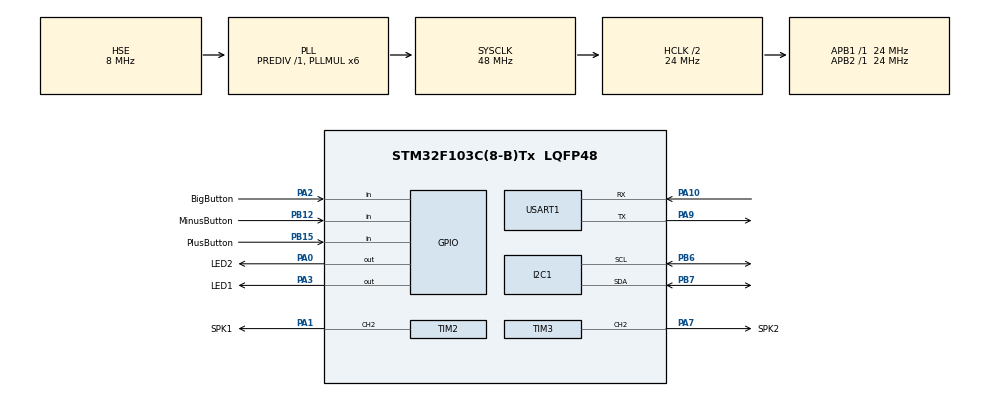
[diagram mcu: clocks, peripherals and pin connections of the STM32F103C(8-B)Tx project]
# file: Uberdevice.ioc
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Mcu.Family=STM32F1
Mcu.Name=STM32F103C(8-B)Tx
Mcu.Package=LQFP48
NVIC.PriorityGroup=NVIC_PRIORITYGROUP_4
NVIC.TIM4_IRQn=true\:0\:0\:false\:false\:true\:false\:true
NVIC.TimeBase=TIM4_IRQn
NVIC.TimeBaseIP=TIM4
PA0-WKUP.GPIO_Label=LED2
PA0-WKUP.Signal=GPIO_Output
PA1.GPIO_Label=SPK1
PA1.Signal=S_TIM2_CH2
PA10.Mode=Asynchronous
PA10.Signal=USART1_RX
PA13.Mode=Serial_Wire
PA13.Signal=SYS_JTMS-SWDIO
PA14.Mode=Serial_Wire
PA14.Signal=SYS_JTCK-SWCLK
PA2.GPIO_Label=BigButton
PA2.GPIO_PuPd=GPIO_PULLDOWN
PA2.Signal=GPIO_Input
PA3.GPIO_Label=LED1
PA3.Signal=GPIO_Output
PA7.GPIO_Label=SPK2
PA7.Signal=S_TIM3_CH2
PA9.Mode=Asynchronous
PA9.Signal=USART1_TX
PB12.GPIO_Label=MinusButton
PB12.GPIO_PuPd=GPIO_PULLDOWN
PB12.Signal=GPIO_Input
PB15.GPIO_Label=PlusButton
PB15.GPIO_PuPd=GPIO_PULLDOWN
PB15.Signal=GPIO_Input
PB6.Mode=I2C
PB6.Signal=I2C1_SCL
PB7.Mode=I2C
PB7.Signal=I2C1_SDA
PD0-OSC_IN.Mode=HSE-External-Oscillator
PD0-OSC_IN.Signal=RCC_OSC_IN
PD1-OSC_OUT.Mode=HSE-External-Oscillator
PD1-OSC_OUT.Signal=RCC_OSC_OUT
ProjectManager.HeapSize=0x200
ProjectManager.StackSize=0x400
ProjectManager.TargetToolchain=Makefile
RCC.AHBCLKDivider=RCC_SYSCLK_DIV2
RCC.AHBFreq_Value=24000000
RCC.APB1Freq_Value=24000000
RCC.APB1TimFreq_Value=24000000
RCC.APB2Freq_Value=24000000
RCC.APB2TimFreq_Value=24000000
RCC.HCLKFreq_Value=24000000
RCC.PLLMUL=RCC_PLL_MUL6
RCC.PLLSourceVirtual=RCC_PLLSOURCE_HSE
RCC.SYSCLKFreq_VALUE=48000000
RCC.SYSCLKSource=RCC_SYSCLKSOURCE_PLLCLK
RCC.USBFreq_Value=48000000
SH.S_TIM2_CH2.0=TIM2_CH2,PWM Generation2 CH2
SH.S_TIM3_CH2.0=TIM3_CH2,PWM Generation2 CH2
TIM2.Channel-PWM\ Generation2\ CH2=TIM_CHANNEL_2
TIM3.Channel-PWM\ Generation2\ CH2=TIM_CHANNEL_2
USART1.VirtualMode=VM_ASYNC
VP_SYS_VS_tim4.Mode=TIM4
board=custom

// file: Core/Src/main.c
/* USER CODE BEGIN Header */
/*
  ******************************************************************************
  * @file           : main.c
  * @brief          : Main program body
  ******************************************************************************
  * @attention
  *
  * <h2><center>&copy; Copyright (c) 2019 STMicroelectronics.
  * All rights reserved.</center></h2>
  *
  * This software component is licensed by ST under Ultimate Liberty license
  * SLA0044, the "License"; You may not use this file except in compliance with
  * the License. You may obtain a copy of the License at:
  *                             www.st.com/SLA0044
  *
  ******************************************************************************
  */
/* USER CODE END Header */

#include "main.h"

/* USER CODE BEGIN Includes */

#include <stdlib.h>
#include <string.h>
#include "stm32f1xx_hal_gpio.h"
#include "lcd.h"
#include "game.h"
#include "task.h"
#include "queue.h"
#include "music.h"
#include "semphr.h"

/* USER CODE END Includes */

/* USER CODE BEGIN PTD */

typedef struct {
  bool pressed;
  GPIO_TypeDef *port;
  uint16_t pin;
} Button;

/* USER CODE END PTD */

/* USER CODE BEGIN PD */
#define LCD_ADDR (0x27 << 1)
#define LCD_COLS 20
#define LCD_ROWS 4

#define BUTTON_COUNT 3

/* USER CODE END PD */

I2C_HandleTypeDef hi2c1;

TIM_HandleTypeDef htim2;
TIM_HandleTypeDef htim3;

UART_HandleTypeDef huart1;

/* USER CODE BEGIN PV */

GameEngine game;
LCD_HandleTypeDef hlcd = {
    &hi2c1,
    LCD_ADDR,
    LCD_ROWS,
    LCD_COLS
};
char lcdBuffer[LCD_COLS+1];
Button buttons[BUTTON_COUNT] = { {
  .pressed = false,
  .port = BigButton_GPIO_Port,
  .pin = BigButton_Pin
}, {
  .pressed = false,
  .port = PlusButton_GPIO_Port,
  .pin = PlusButton_Pin
}, {
  .pressed = false,
  .port = MinusButton_GPIO_Port,
  .pin = MinusButton_Pin
} };
Button *plusButton = &buttons[1];
Button *minusButton = &buttons[2];
Button *bigButton = &buttons[0];

TimerHandle_t xSecondsTimerHandle = NULL;
TaskHandle_t xMusicHandle = NULL;
TaskHandle_t xLCDUpdaterHandle = NULL;
xSemaphoreHandle xButtonPressed;
xSemaphoreHandle xLCD;

asm(
"tetris:\n\t"
".incbin \"../../Resources/tetris.bin\"\n\t" // используем директиву .incbin
"tetris_len:\n\t"
".long .-tetris\n\t"  // вставляем значение .long с вычисленной длиной файла
);
extern uint8_t *tetris;
extern uint32_t tetris_len;
asm(
"super_mario:\n\t"
".incbin \"../../Resources/super_mario.bin\"\n\t" // используем директиву .incbin
"super_mario_len:\n\t"
".long .-super_mario\n\t"  // вставляем значение .long с вычисленной длиной файла
);
extern uint8_t *super_mario;
extern uint32_t super_mario_len;

/* USER CODE END PV */

void SystemClock_Config(void);
static void MX_GPIO_Init(void);
static void MX_I2C1_Init(void);
static void MX_TIM2_Init(void);
static void MX_TIM3_Init(void);
static void MX_USART1_UART_Init(void);
/* USER CODE BEGIN PFP */

void PrintTime() {
  if( xSemaphoreTake( xLCD, portMAX_DELAY ) == pdTRUE )
  {
    sprintf(
      lcdBuffer,
      (game.timerValue > 0 ? "       %2d:%02d        " : "      -%2d:%02d        "),
      abs(game.timerValue / 60),
      abs(game.timerValue % 60)
    );
    LCD_MoveCursor(&hlcd, 0, 0);
    LCD_SendString(&hlcd, lcdBuffer);
    xSemaphoreGive( xLCD );
  }
}
/* USER CODE END PFP */

int main(void)
{

  /* MCU Configuration--------------------------------------------------------*/

  /* Reset of all peripherals, Initializes the Flash interface and the Systick. */
  HAL_Init();

  /* Configure the system clock */
  SystemClock_Config();

  /* Initialize all configured peripherals */
  MX_GPIO_Init();
  MX_I2C1_Init();
  MX_TIM2_Init();
  MX_TIM3_Init();
  MX_USART1_UART_Init();
  /* USER CODE BEGIN 2 */
  InitGameEngine();

  xLCD = xSemaphoreCreateMutex();
  xButtonPressed = xSemaphoreCreateBinary();

	xTaskCreate(vTaskPlayerSetup, "Player", configMINIMAL_STACK_SIZE, NULL, 1, NULL);
	xTaskCreate(vTaskButtonPoll, "Buttons", configMINIMAL_STACK_SIZE, NULL, 1, NULL);
	vTaskStartScheduler();
  /* USER CODE END 2 */

  /* Infinite loop */
  while (1)
  {

  }
}

void SystemClock_Config(void)
{
  RCC_OscInitTypeDef RCC_OscInitStruct = {0};
  RCC_ClkInitTypeDef RCC_ClkInitStruct = {0};

  /** Initializes the CPU, AHB and APB busses clocks
  */
  RCC_OscInitStruct.OscillatorType = RCC_OSCILLATORTYPE_HSE;
  RCC_OscInitStruct.HSEState = RCC_HSE_ON;
  RCC_OscInitStruct.HSEPredivValue = RCC_HSE_PREDIV_DIV1;
  RCC_OscInitStruct.HSIState = RCC_HSI_ON;
  RCC_OscInitStruct.PLL.PLLState = RCC_PLL_ON;
  RCC_OscInitStruct.PLL.PLLSource = RCC_PLLSOURCE_HSE;
  RCC_OscInitStruct.PLL.PLLMUL = RCC_PLL_MUL6;
  if (HAL_RCC_OscConfig(&RCC_OscInitStruct) != HAL_OK)
  {
    Error_Handler();
  }
  /** Initializes the CPU, AHB and APB busses clocks
  */
  RCC_ClkInitStruct.ClockType = RCC_CLOCKTYPE_HCLK|RCC_CLOCKTYPE_SYSCLK
                              |RCC_CLOCKTYPE_PCLK1|RCC_CLOCKTYPE_PCLK2;
  RCC_ClkInitStruct.SYSCLKSource = RCC_SYSCLKSOURCE_PLLCLK;
  RCC_ClkInitStruct.AHBCLKDivider = RCC_SYSCLK_DIV2;
  RCC_ClkInitStruct.APB1CLKDivider = RCC_HCLK_DIV1;
  RCC_ClkInitStruct.APB2CLKDivider = RCC_HCLK_DIV1;

  if (HAL_RCC_ClockConfig(&RCC_ClkInitStruct, FLASH_LATENCY_1) != HAL_OK)
  {
    Error_Handler();
  }
}

static void MX_I2C1_Init(void)
{

  hi2c1.Instance = I2C1;
  hi2c1.Init.ClockSpeed = 100000;
  hi2c1.Init.DutyCycle = I2C_DUTYCYCLE_2;
  hi2c1.Init.OwnAddress1 = 0;
  hi2c1.Init.AddressingMode = I2C_ADDRESSINGMODE_7BIT;
  hi2c1.Init.DualAddressMode = I2C_DUALADDRESS_DISABLE;
  hi2c1.Init.OwnAddress2 = 0;
  hi2c1.Init.GeneralCallMode = I2C_GENERALCALL_DISABLE;
  hi2c1.Init.NoStretchMode = I2C_NOSTRETCH_DISABLE;
  if (HAL_I2C_Init(&hi2c1) != HAL_OK)
  {
    Error_Handler();
  }

}

static void MX_TIM2_Init(void)
{

  TIM_MasterConfigTypeDef sMasterConfig = {0};
  TIM_OC_InitTypeDef sConfigOC = {0};

  htim2.Instance = TIM2;
  htim2.Init.Prescaler = 0;
  htim2.Init.CounterMode = TIM_COUNTERMODE_UP;
  htim2.Init.Period = 0;
  htim2.Init.ClockDivision = TIM_CLOCKDIVISION_DIV1;
  htim2.Init.AutoReloadPreload = TIM_AUTORELOAD_PRELOAD_DISABLE;
  if (HAL_TIM_PWM_Init(&htim2) != HAL_OK)
  {
    Error_Handler();
  }
  sMasterConfig.MasterOutputTrigger = TIM_TRGO_RESET;
  sMasterConfig.MasterSlaveMode = TIM_MASTERSLAVEMODE_DISABLE;
  if (HAL_TIMEx_MasterConfigSynchronization(&htim2, &sMasterConfig) != HAL_OK)
  {
    Error_Handler();
  }
  sConfigOC.OCMode = TIM_OCMODE_PWM1;
  sConfigOC.Pulse = 0;
  sConfigOC.OCPolarity = TIM_OCPOLARITY_HIGH;
  sConfigOC.OCFastMode = TIM_OCFAST_DISABLE;
  if (HAL_TIM_PWM_ConfigChannel(&htim2, &sConfigOC, TIM_CHANNEL_2) != HAL_OK)
  {
    Error_Handler();
  }
  HAL_TIM_MspPostInit(&htim2);

}

static void MX_TIM3_Init(void)
{

  TIM_MasterConfigTypeDef sMasterConfig = {0};
  TIM_OC_InitTypeDef sConfigOC = {0};

  htim3.Instance = TIM3;
  htim3.Init.Prescaler = 0;
  htim3.Init.CounterMode = TIM_COUNTERMODE_UP;
  htim3.Init.Period = 0;
  htim3.Init.ClockDivision = TIM_CLOCKDIVISION_DIV1;
  htim3.Init.AutoReloadPreload = TIM_AUTORELOAD_PRELOAD_DISABLE;
  if (HAL_TIM_PWM_Init(&htim3) != HAL_OK)
  {
    Error_Handler();
  }
  sMasterConfig.MasterOutputTrigger = TIM_TRGO_RESET;
  sMasterConfig.MasterSlaveMode = TIM_MASTERSLAVEMODE_DISABLE;
  if (HAL_TIMEx_MasterConfigSynchronization(&htim3, &sMasterConfig) != HAL_OK)
  {
    Error_Handler();
  }
  sConfigOC.OCMode = TIM_OCMODE_PWM1;
  sConfigOC.Pulse = 0;
  sConfigOC.OCPolarity = TIM_OCPOLARITY_HIGH;
  sConfigOC.OCFastMode = TIM_OCFAST_DISABLE;
  if (HAL_TIM_PWM_ConfigChannel(&htim3, &sConfigOC, TIM_CHANNEL_2) != HAL_OK)
  {
    Error_Handler();
  }
  HAL_TIM_MspPostInit(&htim3);

}

static void MX_USART1_UART_Init(void)
{

  huart1.Instance = USART1;
  huart1.Init.BaudRate = 115200;
  huart1.Init.WordLength = UART_WORDLENGTH_8B;
  huart1.Init.StopBits = UART_STOPBITS_1;
  huart1.Init.Parity = UART_PARITY_NONE;
  huart1.Init.Mode = UART_MODE_TX_RX;
  huart1.Init.HwFlowCtl = UART_HWCONTROL_NONE;
  huart1.Init.OverSampling = UART_OVERSAMPLING_16;
  if (HAL_UART_Init(&huart1) != HAL_OK)
  {
    Error_Handler();
  }

}

static void MX_GPIO_Init(void)
{
  GPIO_InitTypeDef GPIO_InitStruct = {0};

  /* GPIO Ports Clock Enable */
  __HAL_RCC_GPIOC_CLK_ENABLE();
  __HAL_RCC_GPIOD_CLK_ENABLE();
  __HAL_RCC_GPIOA_CLK_ENABLE();
  __HAL_RCC_GPIOB_CLK_ENABLE();

  /*Configure GPIO pin Output Level */
  HAL_GPIO_WritePin(GPIOA, LED2_Pin|LED1_Pin, GPIO_PIN_RESET);

  /*Configure GPIO pins : PC13 PC14 PC15 */
  GPIO_InitStruct.Pin = GPIO_PIN_13|GPIO_PIN_14|GPIO_PIN_15;
  GPIO_InitStruct.Mode = GPIO_MODE_ANALOG;
  HAL_GPIO_Init(GPIOC, &GPIO_InitStruct);

  /*Configure GPIO pins : LED2_Pin LED1_Pin */
  GPIO_InitStruct.Pin = LED2_Pin|LED1_Pin;
  GPIO_InitStruct.Mode = GPIO_MODE_OUTPUT_PP;
  GPIO_InitStruct.Pull = GPIO_NOPULL;
  GPIO_InitStruct.Speed = GPIO_SPEED_FREQ_LOW;
  HAL_GPIO_Init(GPIOA, &GPIO_InitStruct);

  /*Configure GPIO pin : BigButton_Pin */
  GPIO_InitStruct.Pin = BigButton_Pin;
  GPIO_InitStruct.Mode = GPIO_MODE_INPUT;
  GPIO_InitStruct.Pull = GPIO_PULLDOWN;
  HAL_GPIO_Init(BigButton_GPIO_Port, &GPIO_InitStruct);

  /*Configure GPIO pins : PA4 PA5 PA6 PA8
                           PA11 PA12 PA15 */
  GPIO_InitStruct.Pin = GPIO_PIN_4|GPIO_PIN_5|GPIO_PIN_6|GPIO_PIN_8
                          |GPIO_PIN_11|GPIO_PIN_12|GPIO_PIN_15;
  GPIO_InitStruct.Mode = GPIO_MODE_ANALOG;
  HAL_GPIO_Init(GPIOA, &GPIO_InitStruct);

  /*Configure GPIO pins : PB0 PB1 PB2 PB10
                           PB11 PB13 PB14 PB3
                           PB4 PB5 PB8 PB9 */
  GPIO_InitStruct.Pin = GPIO_PIN_0|GPIO_PIN_1|GPIO_PIN_2|GPIO_PIN_10
                          |GPIO_PIN_11|GPIO_PIN_13|GPIO_PIN_14|GPIO_PIN_3
                          |GPIO_PIN_4|GPIO_PIN_5|GPIO_PIN_8|GPIO_PIN_9;
  GPIO_InitStruct.Mode = GPIO_MODE_ANALOG;
  HAL_GPIO_Init(GPIOB, &GPIO_InitStruct);

  /*Configure GPIO pins : MinusButton_Pin PlusButton_Pin */
  GPIO_InitStruct.Pin = MinusButton_Pin|PlusButton_Pin;
  GPIO_InitStruct.Mode = GPIO_MODE_INPUT;
  GPIO_InitStruct.Pull = GPIO_PULLDOWN;
  HAL_GPIO_Init(GPIOB, &GPIO_InitStruct);

}

/* USER CODE BEGIN 4 */

void vTaskPlayerSetup(void *parameter)
{
  vTaskDelay(50);
  LCD_Init(&hlcd);
  vTaskDelay(50);
  LCD_MoveHome(&hlcd);
  LCD_SendString(&hlcd, "Settings");
  LCD_MoveCursor(&hlcd, 1, 0);
  while (1)
	{
    LCD_MoveCursor(&hlcd, 1, 0);
    sprintf(lcdBuffer, "Players: %1d          ", game.activePlayers);
    LCD_SendString(&hlcd, lcdBuffer);
    vTaskDelay(1);
    if (xSemaphoreTake(xButtonPressed, portMAX_DELAY) == pdPASS )
    {
      if (plusButton->pressed)
      {
        plusButton->pressed = false;
        AddPlayer();
      }
      else if (minusButton->pressed)
      {
        minusButton->pressed = false;
        RemovePlayer();
      }
      else if (bigButton->pressed && game.activePlayers > 1)
      {
        break;
      }
    }
	}
	xTaskCreate(vTaskConfig, "Config", configMINIMAL_STACK_SIZE, NULL, 1, NULL);
	vTaskDelete(NULL);
}

void vTaskConfig(void *parameter) {
  LCD_MoveHome(&hlcd);
  LCD_SendString(&hlcd, "Settings");
	while (1)
	{
    LCD_MoveCursor(&hlcd, 1, 0);
    sprintf(lcdBuffer, "Count scores: %3s   ", game.countScores ? "yes" : "no");
    LCD_SendString(&hlcd, lcdBuffer);
    vTaskDelay(1);
    if (xSemaphoreTake(xButtonPressed, portMAX_DELAY) == pdPASS ) {
      if (plusButton->pressed)
        game.countScores = !game.countScores;
      if (minusButton->pressed)
      // show round number or change the way it counts
        game.countScores = !game.countScores;
      if (bigButton->pressed) {
        break;
      }
      vTaskDelay(10);
    }
	}
	xTaskCreate(vTaskTimerSetup, "TaskTimerSetup", configMINIMAL_STACK_SIZE, NULL, 1, NULL);
  xTaskCreate(vTaskTurnTimeUpdate, "TimeUpdate", configMINIMAL_STACK_SIZE, NULL, 1, &xLCDUpdaterHandle);
	vTaskDelete(NULL);
}

void vTaskTimerSetup(void *parameter) {
  if( xSemaphoreTake( xLCD, portMAX_DELAY ) == pdTRUE )
  {
    LCD_MoveHome(&hlcd);
    LCD_MoveCursor(&hlcd, 1, 0);
    sprintf(lcdBuffer, "Setup turn time");
    LCD_SendString(&hlcd, lcdBuffer);
    xSemaphoreGive( xLCD );
  }
	while (1)
	{
    ResetTurnTimer();
    xTaskNotifyGive(xLCDUpdaterHandle);
    vTaskDelay(1);
    if (xSemaphoreTake(xButtonPressed, portMAX_DELAY) == pdPASS )
    {
      if (plusButton->pressed)
      {
        plusButton->pressed = false;
        IncrementTurnTime();
      }
      else if (minusButton->pressed)
      {
        minusButton->pressed = false;
        DecrementTurnTime();
      }
      else if (bigButton->pressed) {
        break;
      }
    }
	}

	xSecondsTimerHandle = xTimerCreate("SecondsTimer",
		pdMS_TO_TICKS(1000), //counts 1 sec
		pdTRUE, //auto-reload
		NULL, //not assigning ID
		vTimerCallback // function to call after timer expires
  );

	xTaskCreate(vTaskTurn, "TaskTurn", configMINIMAL_STACK_SIZE, NULL, 1, NULL);
	vTaskDelete(NULL);
}

void vTaskTurnTimeUpdate(void *parameter) {
	while (1)
	{
    ulTaskNotifyTake( pdTRUE, portMAX_DELAY );
    PrintTime();
  }
}

void vTaskTurn(void *parameter) {
	xTimerReset(xSecondsTimerHandle, 0);
  xTaskNotifyGive(xLCDUpdaterHandle);
  vTaskDelay(5);

  if (game.countScores)
  {
    if( xSemaphoreTake( xLCD, portMAX_DELAY ) == pdTRUE )
    {
      LCD_MoveCursor(&hlcd, 2, 0);
      memset(&lcdBuffer,'\0', sizeof(lcdBuffer));
      lcdBuffer[0] = ' ';
      for (int i = 1; i <= game.activePlayers; i++)
      {
        char tmp[8];
        sprintf(tmp, "%1d:%3ld|", i, game.scores[i]);
        strcat(lcdBuffer, tmp);
        if (strlen(lcdBuffer) > (LCD_COLS-6))
        {
          LCD_SendString(&hlcd, lcdBuffer);
          LCD_MoveCursor(&hlcd, 3, 0);
          memset(&lcdBuffer,'\0', sizeof(lcdBuffer));
          lcdBuffer[0] = ' ';
        }
      }
      LCD_SendString(&hlcd, lcdBuffer);
      xSemaphoreGive( xLCD );
    }
  }
  if( xSemaphoreTake( xLCD, portMAX_DELAY ) == pdTRUE )
  {
    sprintf(lcdBuffer, "Player: %1d Score: %3ld",game.currentPlayer, game.scores[game.currentPlayer]);
    LCD_MoveCursor(&hlcd, 1, 0);
    LCD_SendString(&hlcd, lcdBuffer);
    xSemaphoreGive( xLCD );
  }

  while (1)
  {
    if (xSemaphoreTake(xButtonPressed, portMAX_DELAY) == pdPASS )
    {
      if (plusButton->pressed || minusButton->pressed) {
        xTaskCreate(vTaskTimerSetup, "TaskTimerSetup", configMINIMAL_STACK_SIZE, NULL, 1, NULL);
        break;
      }
      else if (bigButton->pressed) {
        xTaskCreate(vTaskTurnEnd, "TaskTurnEnd", configMINIMAL_STACK_SIZE, NULL, 1, NULL);
        break;
      }
    }
//  HAL_GPIO_TogglePin(LED1_GPIO_Port, LED1_Pin);
	}
	xTimerStop(xSecondsTimerHandle, 0);

	if (xMusicHandle) {
		vTaskDelete(xMusicHandle);
		MusicStop();
		xMusicHandle = NULL;
	}
	vTaskDelete(NULL);
}

void vTaskTurnEnd(void *parameter) {
	if (game.countScores) {
    if( xSemaphoreTake( xLCD, portMAX_DELAY ) == pdTRUE )
    {
      LCD_MoveHome(&hlcd);
      LCD_MoveCursor(&hlcd, 1, 0);
      sprintf(lcdBuffer, "Player: %1d Score: %3ld",game.currentPlayer, game.scores[game.currentPlayer]);
      LCD_SendString(&hlcd, lcdBuffer);
      xSemaphoreGive( xLCD );
    }
    xTaskNotifyGive(xLCDUpdaterHandle);
    int32_t delta = 0;
    while (1) {
      if( xSemaphoreTake( xLCD, portMAX_DELAY ) == pdTRUE )
      {
        sprintf(lcdBuffer, "Result: %+4ld", delta);
        LCD_MoveCursor(&hlcd, 2, 0);
        LCD_SendString(&hlcd, lcdBuffer);
        xSemaphoreGive( xLCD );
      }
      if (xSemaphoreTake(xButtonPressed, portMAX_DELAY) == pdPASS ) {
        if (bigButton->pressed) {
          ChangeScore(delta);
          break;
        }
        else if (plusButton->pressed)
        {
          plusButton->pressed = false;
          delta++;
        }
        else if (minusButton->pressed)
        {
          minusButton->pressed = false;
          delta--;
        }
      }
    }
  }
	NextPlayer();
	xTaskCreate(vTaskTurn, "TaskTurn", configMINIMAL_STACK_SIZE, NULL, 1, NULL);
	vTaskDelete(NULL);
}

void vTaskOvertime(void *parameter) {
  /*
  Track music[2] = {
    { .begin = tetris, .size = tetris_len},
    { .begin = super_mario, .size = super_mario_len}
  };
	while (1)
	{
		HAL_GPIO_WritePin(LED2_GPIO_Port, LED1_Pin, GPIO_PIN_SET);
		MusicPlay(&music[0]);
		HAL_GPIO_WritePin(LED2_GPIO_Port, LED1_Pin, GPIO_PIN_RESET);
		vTaskDelay(1000);
	} */
	while (1) {};
}

void vTimerCallback(TimerHandle_t xTimer) {
  game.timerValue--;
  xTaskNotifyGive(xLCDUpdaterHandle);
  if(game.timerValue == 0 && xMusicHandle == NULL)
  {
    xTaskCreate(vTaskOvertime, "vTaskOvertime", configMINIMAL_STACK_SIZE, NULL, 1, &xMusicHandle);
  }
}

void vTaskButtonPoll(void *parameter) {
  bool state = false;
  while (1) {
    for(int i = 0; i<BUTTON_COUNT; i++)
    {
      state = HAL_GPIO_ReadPin(buttons[i].port, buttons[i].pin);
      if (state != buttons[i].pressed)
      {
        vTaskDelay(25);
        state = HAL_GPIO_ReadPin(buttons[i].port, buttons[i].pin);
        if (state != buttons[i].pressed)
          buttons[i].pressed = !buttons[i].pressed;
          xSemaphoreGive(xButtonPressed);
      }
      vTaskDelay(50);
    }
  }
}
/* USER CODE END 4 */

void HAL_TIM_PeriodElapsedCallback(TIM_HandleTypeDef *htim)
{
  if (htim->Instance == TIM4) {
    HAL_IncTick();
  }
}

void Error_Handler(void)
{
}

/************************ (C) COPYRIGHT STMicroelectronics *****END OF FILE****/
